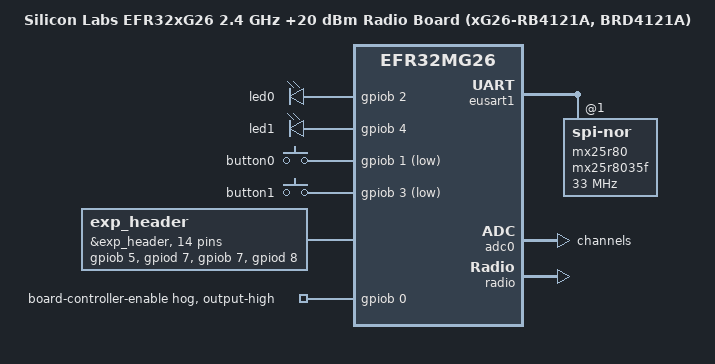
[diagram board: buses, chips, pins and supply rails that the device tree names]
/*
 * Copyright The Zephyr Project Contributors
 *
 * SPDX-License-Identifier: Apache-2.0
 */

/dts-v1/;
#include <silabs/xg26/efr32mg26b420f3200im68.dtsi>
#include <silabs/xg26/clock-hfrcodpll.dtsi>
#include "xg26_common.dtsi"
#include "xg26_rb4121a-pinctrl.dtsi"

/ {
	model = "Silicon Labs EFR32xG26 2.4 GHz +20 dBm Radio Board (xG26-RB4121A, BRD4121A)";
	compatible = "silabs,xg26_rb4121a", "silabs,efr32mg26";

	aliases {
		spi-flash0 = &mx25r80;
	};
};

&led0 {
	gpios = <&gpiob 2 GPIO_ACTIVE_HIGH>;
};

&led1 {
	gpios = <&gpiob 4 GPIO_ACTIVE_HIGH>;
};

&button0 {
	gpios = <&gpiob 1 GPIO_ACTIVE_LOW>;
};

&button1 {
	gpios = <&gpiob 3 GPIO_ACTIVE_LOW>;
};

&sensor_enable {
	enable-gpios = <&gpioc 10 GPIO_ACTIVE_HIGH>;
};

&exp_header {
	gpio-map = <3 0 &gpiob 5 0>,
		   <4 0 &gpiod 7 0>,
		   <5 0 &gpiob 7 0>,
		   <6 0 &gpiod 8 0>,
		   <7 0 &gpiob 6 0>,
		   <8 0 &gpiod 9 0>,
		   <9 0 &gpiob 8 0>,
		   <10 0 &gpiod 10 0>,
		   <11 0 &gpiod 2 0>,
		   <12 0 &gpioc 12 0>,
		   <13 0 &gpiod 3 0>,
		   <14 0 &gpioc 13 0>,
		   <15 0 &gpioc 5 0>,
		   <16 0 &gpioc 7 0>;
};

&hfxo {
	ctune = <140>;
	precision = <50>;
};

&usart1 {
	current-speed = <115200>;
	pinctrl-0 = <&usart1_default>;
	pinctrl-names = "default";
	status = "disabled";
};

&eusart1 {
	cs-gpios = <&gpioc 8 GPIO_ACTIVE_HIGH>, <&gpioc 4 GPIO_ACTIVE_LOW>;

	mx25r80: mx25r8035f@1 {
		compatible = "jedec,spi-nor";
		reg = <1>;
		dpd-wakeup-sequence = <30000 20 35000>;
		has-dpd;
		jedec-id = [c2 28 14];
		mxicy,mx25r-power-mode = "low-power";
		size = <0x800000>;
		spi-max-frequency = <DT_FREQ_M(33)>;
		t-enter-dpd = <0>;
		zephyr,pm-device-runtime-auto;
	};
};

&ls0xx_ls013b7dh03 {
	disp-en-gpios = <&gpioc 9 GPIO_ACTIVE_HIGH>;
	extcomin-gpios = <&gpioc 6 GPIO_ACTIVE_HIGH>;
};

&eusart2 {
	compatible = "silabs,eusart-spi";
	#address-cells = <1>;
	#size-cells = <0>;
	clock-frequency = <DT_FREQ_M(10)>;
	cs-gpios = <&gpiod 10 GPIO_ACTIVE_LOW>;
	pinctrl-0 = <&eusart2_default>;
	pinctrl-names = "default";
	status = "disabled";
};

&adc0 {
	channel@0 {
		zephyr,input-positive = <IADC_INPUT_PC11>;
	};
};

&gpiob {
	board-controller-enable {
		gpio-hog;
		gpios = <0 GPIO_ACTIVE_HIGH>;
		output-high;
	};
};

&radio {
	pa-voltage-mv = <3300>;
};
